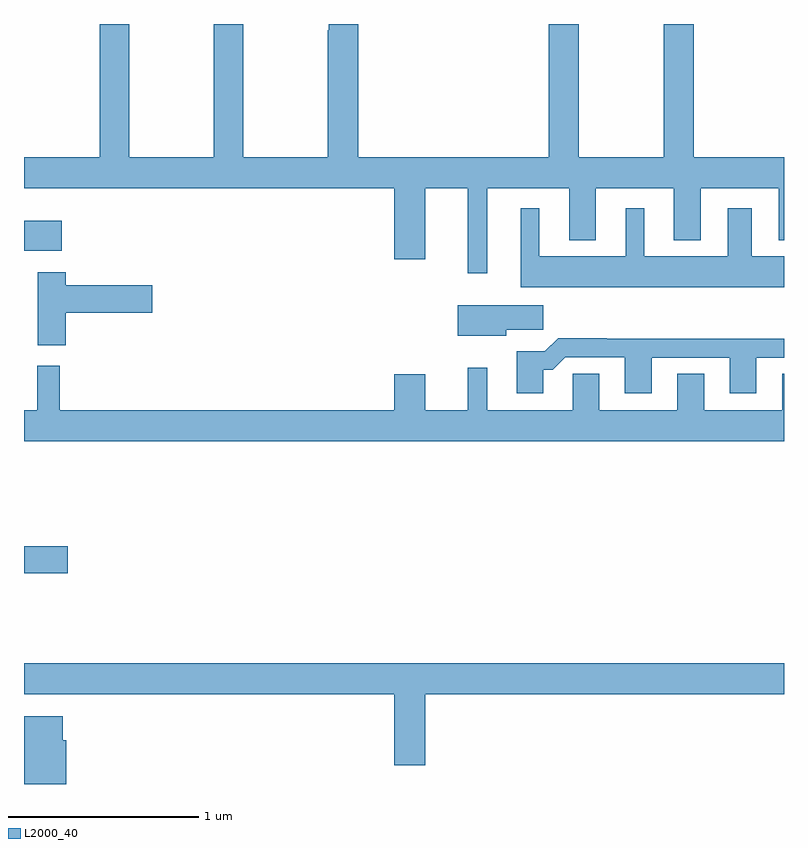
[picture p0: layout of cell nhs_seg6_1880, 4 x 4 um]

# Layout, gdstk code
import gdstk
lib = gdstk.Library(unit=1e-6, precision=1e-09)
def R(c, l, rs):  # rectangles x0, y0, x1, y1
    for r in rs: c.add(gdstk.rectangle(r[:2], r[2:], *l))
def P(c, l, *ps):  # polygons
    for p in ps: c.add(gdstk.Polygon(p, *l))
L2000_40 = (2000, 40)

nhs_seg6_1880 = lib.new_cell('nhs_seg6_1880')
R(nhs_seg6_1880, L2000_40, [(223,978.61,223.231,978.752), (223,980.306,223.198,980.464)])
P(nhs_seg6_1880, L2000_40, [(224.759,981.5),(224.603,981.5),(224.603,981.467),(224.599,981.467),(224.599,980.8),(224.154,980.8),(224.154,981.5),(223.999,981.5),(223.999,980.8),(223.554,980.8),(223.554,981.5),(223.399,981.5),(223.399,980.8),(223,980.8),(223,980.636),(224.948,980.636),(224.948,980.262),(225.112,980.262),(225.112,980.636),(225.335,980.636),(225.335,980.187),(225.439,980.187),(225.439,980.636),(225.869,980.636),(225.869,980.363),(226.009,980.363),(226.009,980.636),(226.421,980.636),(226.421,980.363),(226.561,980.363),(226.561,980.636),(226.973,980.636),(226.973,980.363),(227,980.363),(227,980.8),(226.526,980.8),(226.526,981.5),(226.366,981.5),(226.366,980.8),(225.921,980.8),(225.921,981.5),(225.761,981.5),(225.761,980.8),(224.759,980.8)],
  [(227,980.278),(226.831,980.278),(226.831,980.53),(226.703,980.53),(226.703,980.278),(226.264,980.278),(226.264,980.53),(226.166,980.53),(226.166,980.278),(225.712,980.278),(225.712,980.53),(225.614,980.53),(225.614,980.114),(227,980.114)],
  [(223.22,979.979),(223.675,979.979),(223.675,980.126),(223.22,980.126),(223.22,980.194),(223.073,980.194),(223.073,979.809),(223.22,979.809)],
  [(225.538,979.891),(225.733,979.891),(225.733,980.02),(225.284,980.02),(225.284,979.859),(225.538,979.859)],
  [(225.733,979.679),(225.782,979.679),(225.849,979.746),(226.163,979.746),(226.163,979.557),(226.303,979.557),(226.303,979.743),(226.715,979.743),(226.715,979.557),(226.855,979.557),(226.855,979.743),(227,979.743),(227,979.844),(226.067,979.844),(226.067,979.847),(225.812,979.847),(225.742,979.777),(225.593,979.777),(225.593,979.557),(225.733,979.557)],
  [(227,979.658),(226.991,979.658),(226.991,979.468),(226.579,979.468),(226.579,979.658),(226.439,979.658),(226.439,979.468),(226.027,979.468),(226.027,979.658),(225.888,979.658),(225.888,979.468),(225.439,979.468),(225.439,979.69),(225.335,979.69),(225.335,979.468),(225.112,979.468),(225.112,979.657),(224.948,979.657),(224.948,979.468),(223.189,979.468),(223.189,979.702),(223.07,979.702),(223.07,979.468),(223,979.468),(223,979.304),(227,979.304)],
  [(223,977.972),(224.948,977.972),(224.948,977.598),(225.112,977.598),(225.112,977.972),(227,977.972),(227,978.136),(223,978.136)],
  [(223.222,977.73),(223.204,977.73),(223.204,977.857),(223,977.857),(223,977.5),(223.222,977.5)])

lib.write_gds('nhs_seg6_1880.gds')
